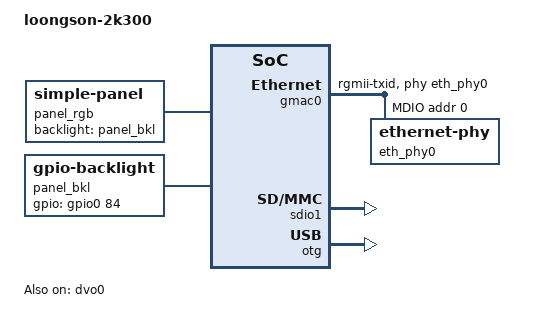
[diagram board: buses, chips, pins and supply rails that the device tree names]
#include "ls2k300_g2k03z0_core_v10.dtsi"
#include <dt-bindings/gpio/gpio.h>
#include <dt-bindings/power-domain/ls2k500-power-domain.h>

/ {
	model = "loongson-2k300";


	sysinfo-smbios {
		compatible = "u-boot,sysinfo-smbios";
		u-boot,dm-pre-reloc;

		smbios {
			system {
				manufacturer = "Loongson";
				product = "LS2K300";
			};

			baseboard {
				manufacturer = "Loongson";
				product = "LS2K300-MINI-DP";
			};

			chassis {
				manufacturer = "Loongson";
				product = "LS2K300-MINI-DP";
			};
		};
	};

	panel_rgb: panel-rgb {
		compatible = "simple-panel";
		backlight = <&panel_bkl>;

		display-timings {
#if 0	// 4.3' LCD
			native-mode = <&atk_md0430r>;

			atk_md0430r: 800x480 {
				clock-frequency = <27000000>;
				hactive = <800>;
				vactive = <480>;
				hsync-len = <40>;
				hfront-porch = <48>;
				hback-porch = <40>;
				vfront-porch = <13>;
				vback-porch = <32>;
				vsync-len = <0>;
				de-active = <1>;
				hsync-active = <0>;
				vsync-active = <0>;
				pixelclk-active = <0>;
			};
#else	// 7' LCD
			native-mode = <&atk_md0700r>;

			atk_md0700r: 1024x600 {
				clock-frequency = <51200000>;
				hactive = <1024>;
				vactive = <600>;
				hsync-len = <20>;
				hfront-porch = <160>;
				hback-porch = <140>;
				vfront-porch = <12>;
				vback-porch = <20>;
				vsync-len = <3>;
				de-active = <1>;
				hsync-active = <0>;
				vsync-active = <0>;
				pixelclk-active = <0>;
			};
#endif
		};
	};

	panel_bkl: backlight {
		compatible = "gpio-backlight";
		gpios = <&gpio0 84 GPIO_ACTIVE_HIGH>;
		// default-on;
	};
};


&gmac0 {
	status = "okay";
	phy-mode = "rgmii-txid";
	// max-speed = <100>;
	phy-handle = <&eth_phy0>;
	mdio0: mdio@0 {
		#address-cells = <1>;
		#size-cells = <0>;
		compatible = "snps,dwmac-mdio";

		eth_phy0: ethernet-phy@0 {
			reg = <0>;
		};
	};
};

&dvo0 {
	status = "okay";
	connector-type = "panel";	// panel, vga, hdmi
	connector = <&panel_rgb>;
	pix-fmt = "rgb888";
};

&sdio1 {
	status = "okay";
	use-sdcard;
};

&otg {
	status = "okay";
};
